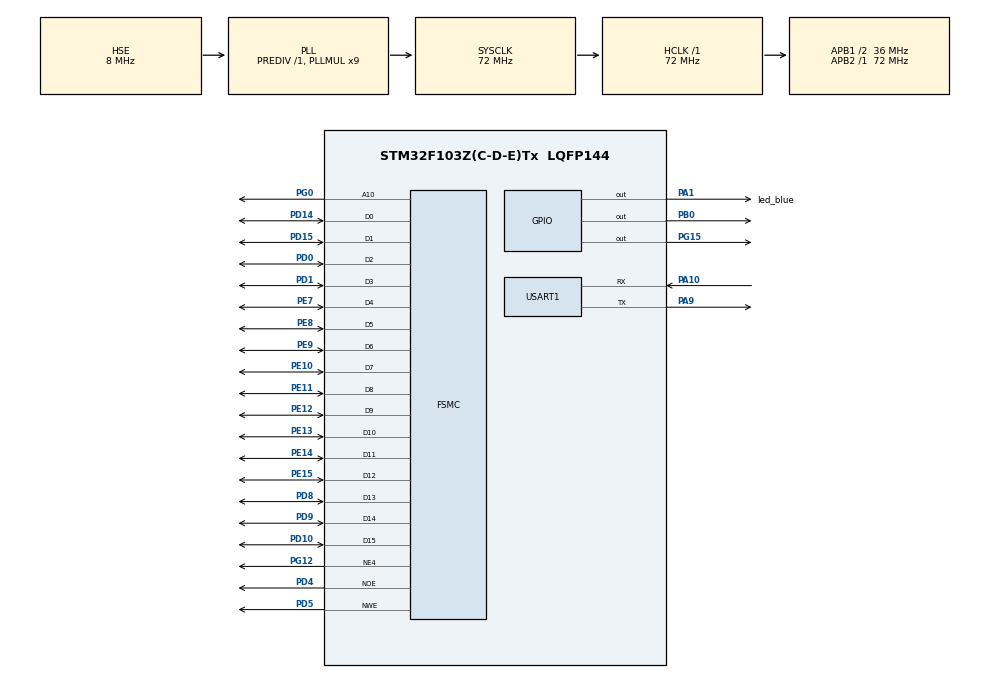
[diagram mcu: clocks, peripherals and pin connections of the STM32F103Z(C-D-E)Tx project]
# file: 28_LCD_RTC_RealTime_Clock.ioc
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Mcu.Family=STM32F1
Mcu.Name=STM32F103Z(C-D-E)Tx
Mcu.Package=LQFP144
NVIC.PriorityGroup=NVIC_PRIORITYGROUP_4
NVIC.USART1_IRQn=true\:0\:0\:false\:false\:true\:true\:true\:true
OSC_IN.Mode=HSE-External-Oscillator
OSC_IN.Signal=RCC_OSC_IN
OSC_OUT.Mode=HSE-External-Oscillator
OSC_OUT.Signal=RCC_OSC_OUT
PA0-WKUP.Mode=SYS_WakeUp0
PA0-WKUP.Signal=SYS_WKUP
PA1.GPIO_Label=led_blue
PA1.GPIO_Speed=GPIO_SPEED_FREQ_HIGH
PA1.PinState=GPIO_PIN_SET
PA1.Signal=GPIO_Output
PA10.Mode=Asynchronous
PA10.Signal=USART1_RX
PA13.Mode=Serial_Wire
PA13.Signal=SYS_JTMS-SWDIO
PA14.Mode=Serial_Wire
PA14.Signal=SYS_JTCK-SWCLK
PA9.Mode=Asynchronous
PA9.Signal=USART1_TX
PB0.Signal=GPIO_Output
PC14-OSC32_IN.Mode=LSE-External-Oscillator
PC14-OSC32_IN.Signal=RCC_OSC32_IN
PC15-OSC32_OUT.Mode=LSE-External-Oscillator
PC15-OSC32_OUT.Signal=RCC_OSC32_OUT
PD0.Signal=FSMC_D2_DA2
PD1.Signal=FSMC_D3_DA3
PD10.Signal=FSMC_D15_DA15
PD14.Signal=FSMC_D0_DA0
PD15.Signal=FSMC_D1_DA1
PD4.Signal=FSMC_NOE
PD5.Signal=FSMC_NWE
PD8.Signal=FSMC_D13_DA13
PD9.Signal=FSMC_D14_DA14
PE10.Signal=FSMC_D7_DA7
PE11.Signal=FSMC_D8_DA8
PE12.Signal=FSMC_D9_DA9
PE13.Signal=FSMC_D10_DA10
PE14.Signal=FSMC_D11_DA11
PE15.Signal=FSMC_D12_DA12
PE7.Signal=FSMC_D4_DA4
PE8.Signal=FSMC_D5_DA5
PE9.Signal=FSMC_D6_DA6
PG0.Signal=FSMC_A10
PG12.Mode=NorPsramChipSelect4_1
PG12.Signal=FSMC_NE4
PG15.GPIO_Speed=GPIO_SPEED_FREQ_HIGH
PG15.Signal=GPIO_Output
ProjectManager.HeapSize=0x200
ProjectManager.StackSize=0x400
ProjectManager.TargetToolchain=CMake
RCC.AHBFreq_Value=72000000
RCC.APB1CLKDivider=RCC_HCLK_DIV2
RCC.APB1Freq_Value=36000000
RCC.APB1TimFreq_Value=72000000
RCC.APB2Freq_Value=72000000
RCC.APB2TimFreq_Value=72000000
RCC.HCLKFreq_Value=72000000
RCC.PLLMUL=RCC_PLL_MUL9
RCC.PLLSourceVirtual=RCC_PLLSOURCE_HSE
RCC.RTCClockSelection=RCC_RTCCLKSOURCE_LSE
RCC.SYSCLKFreq_VALUE=72000000
RCC.SYSCLKSource=RCC_SYSCLKSOURCE_PLLCLK
RCC.USBFreq_Value=72000000
RTC.AutoPrediv=RTC_AUTO_1_SECOND
RTC.Date=11
RTC.Format=RTC_FORMAT_BIN
RTC.Hours=16
RTC.Minutes=27
RTC.Month=RTC_MONTH_AUGUST
RTC.WeekDay=RTC_WEEKDAY_TUESDAY
RTC.Year=26
SH.FSMC_A10.0=FSMC_A10,A10_1
SH.FSMC_D0_DA0.0=FSMC_D0,16b-d1
SH.FSMC_D10_DA10.0=FSMC_D10,16b-d1
SH.FSMC_D11_DA11.0=FSMC_D11,16b-d1
SH.FSMC_D12_DA12.0=FSMC_D12,16b-d1
SH.FSMC_D13_DA13.0=FSMC_D13,16b-d1
SH.FSMC_D14_DA14.0=FSMC_D14,16b-d1
SH.FSMC_D15_DA15.0=FSMC_D15,16b-d1
SH.FSMC_D1_DA1.0=FSMC_D1,16b-d1
SH.FSMC_D2_DA2.0=FSMC_D2,16b-d1
SH.FSMC_D3_DA3.0=FSMC_D3,16b-d1
SH.FSMC_D4_DA4.0=FSMC_D4,16b-d1
SH.FSMC_D5_DA5.0=FSMC_D5,16b-d1
SH.FSMC_D6_DA6.0=FSMC_D6,16b-d1
SH.FSMC_D7_DA7.0=FSMC_D7,16b-d1
SH.FSMC_D8_DA8.0=FSMC_D8,16b-d1
SH.FSMC_D9_DA9.0=FSMC_D9,16b-d1
SH.FSMC_NOE.0=FSMC_NOE,Lcd1
SH.FSMC_NWE.0=FSMC_NWE,Lcd1
USART1.VirtualMode=VM_ASYNC
VP_RTC_VS_RTC_Activate.Mode=RTC_Enabled
VP_RTC_VS_RTC_Calendar.Mode=RTC_Calendar
board=custom

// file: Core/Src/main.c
/* USER CODE BEGIN Header */
/**
  ******************************************************************************
  * @file           : main.c
  * @brief          : Main program body
  ******************************************************************************
  * @attention
  *
  * Copyright (c) 2026 STMicroelectronics.
  * All rights reserved.
  *
  * This software is licensed under terms that can be found in the LICENSE file
  * in the root directory of this software component.
  * If no LICENSE file comes with this software, it is provided AS-IS.
  *
  ******************************************************************************
  */
/* USER CODE END Header */
#include "main.h"
#include "rtc.h"
#include "usart.h"
#include "gpio.h"
#include "fsmc.h"

/* USER CODE BEGIN Includes */
#include <stdio.h>
#include <stdlib.h>
#include <string.h>

#include "fsmc.h"
#include "lcd.h"
/* USER CODE END Includes */

/* USER CODE BEGIN PV */

Rtc_Date date;
/* USER CODE END PV */

void SystemClock_Config(void);

int main(void)
{

  /* MCU Configuration--------------------------------------------------------*/

  /* Reset of all peripherals, Initializes the Flash interface and the Systick. */
  HAL_Init();

  /* Configure the system clock */
  SystemClock_Config();

  /* Initialize all configured peripherals */
  MX_GPIO_Init();
  MX_RTC_Init();
  MX_USART1_UART_Init();
  MX_FSMC_Init();
  /* USER CODE BEGIN 2 */

  LCD_Init();

  Get_Time(&date);

  /* USER CODE END 2 */

  /* Infinite loop */
  /* USER CODE BEGIN WHILE */
  while (1)
  {
    // 每300ms, 刷新一次屏幕
    Get_Time(&date);

    char buf[100] = {0};
    sprintf(buf, "%04d-%02d-%02d %02d:%02d:%02d",
            date.year + 2000, date.month, date.day, date.hour, date.minute, date.second);

    printf("当前时间: %s\r\n", buf);

    LCD_Write_Fonts(buf, 2, 19, 0, 0, BLACK);

    HAL_Delay(1000);

    /* USER CODE END WHILE */

    /* USER CODE BEGIN 3 */

    // 默认保存一次时间
    Update_Date();
  }
  /* USER CODE END 3 */
}

void SystemClock_Config(void)
{
  RCC_OscInitTypeDef RCC_OscInitStruct = {0};
  RCC_ClkInitTypeDef RCC_ClkInitStruct = {0};
  RCC_PeriphCLKInitTypeDef PeriphClkInit = {0};

  /** Initializes the RCC Oscillators according to the specified parameters
  * in the RCC_OscInitTypeDef structure.
  */
  RCC_OscInitStruct.OscillatorType = RCC_OSCILLATORTYPE_HSE | RCC_OSCILLATORTYPE_LSE;
  RCC_OscInitStruct.HSEState = RCC_HSE_ON;
  RCC_OscInitStruct.HSEPredivValue = RCC_HSE_PREDIV_DIV1;
  RCC_OscInitStruct.LSEState = RCC_LSE_ON;
  RCC_OscInitStruct.HSIState = RCC_HSI_ON;
  RCC_OscInitStruct.PLL.PLLState = RCC_PLL_ON;
  RCC_OscInitStruct.PLL.PLLSource = RCC_PLLSOURCE_HSE;
  RCC_OscInitStruct.PLL.PLLMUL = RCC_PLL_MUL9;
  if (HAL_RCC_OscConfig(&RCC_OscInitStruct) != HAL_OK)
  {
    Error_Handler();
  }

  /** Initializes the CPU, AHB and APB buses clocks
  */
  RCC_ClkInitStruct.ClockType = RCC_CLOCKTYPE_HCLK | RCC_CLOCKTYPE_SYSCLK
    | RCC_CLOCKTYPE_PCLK1 | RCC_CLOCKTYPE_PCLK2;
  RCC_ClkInitStruct.SYSCLKSource = RCC_SYSCLKSOURCE_PLLCLK;
  RCC_ClkInitStruct.AHBCLKDivider = RCC_SYSCLK_DIV1;
  RCC_ClkInitStruct.APB1CLKDivider = RCC_HCLK_DIV2;
  RCC_ClkInitStruct.APB2CLKDivider = RCC_HCLK_DIV1;

  if (HAL_RCC_ClockConfig(&RCC_ClkInitStruct, FLASH_LATENCY_2) != HAL_OK)
  {
    Error_Handler();
  }
  PeriphClkInit.PeriphClockSelection = RCC_PERIPHCLK_RTC;
  PeriphClkInit.RTCClockSelection = RCC_RTCCLKSOURCE_LSE;
  if (HAL_RCCEx_PeriphCLKConfig(&PeriphClkInit) != HAL_OK)
  {
    Error_Handler();
  }
}

/* USER CODE BEGIN 4 */

void HAL_UART_AbortReceiveCpltCallback(UART_HandleTypeDef* huart)
{
  if (huart->Instance == USART1)
  {
    // 从缓冲区得到 SetTime: 开头的数据
    char* buf = (char*)malloc(100);
    HAL_UART_Receive_IT(huart, (uint8_t*)buf, 100);
    // 开头是 SetTime: 的数据
    if (strncmp(buf, "SetTime:", 8) == 0)
    {
      // 处理数据 截取后面 的数据, "2000-01-01 00:00:00"
      char* data = buf + 8;

      int year = atoi(strtok(data, "-"));
      int month = atoi(strtok(NULL, "-"));
      int day = atoi(strtok(NULL, " "));
      int hour = atoi(strtok(NULL, ":"));
      int minute = atoi(strtok(NULL, ":"));
      int second = atoi(strtok(NULL, ""));

      // data 中得到时间
      Set_Time(year, month, day, hour, minute, second);

      printf("设置时间: %04d-%02d-%02d %02d:%02d:%02d\n", year, month, day, hour, minute, second);
    }
  }
}

/* USER CODE END 4 */

void Error_Handler(void)
{
  __disable_irq();
  while (1)
  {
  }
}
